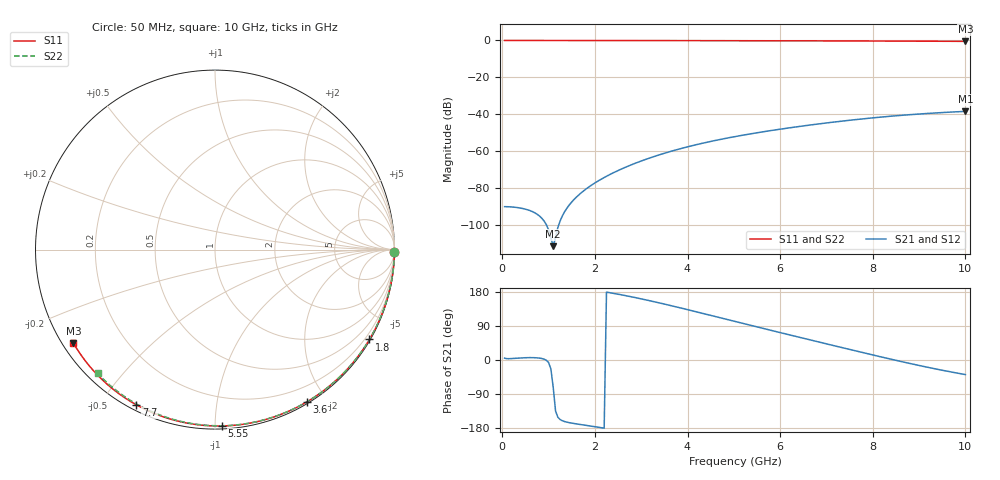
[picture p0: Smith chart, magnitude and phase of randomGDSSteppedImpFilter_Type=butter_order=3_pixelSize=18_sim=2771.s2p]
! freq	dB(S11)	phase(S11)	dB(S12)	phase(S12)
!  dB(S21)	phase(S21)	dB(S22)	phase(S22)
!S-par simulation data
#  GHz  S  DB  R 50
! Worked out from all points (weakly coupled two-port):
!   200 points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, 50 MHz to 10 GHz, reference 50 ohm
!   highest |S21| = -38.42 dB at 10 GHz (marker M1); lowest = -111.5 dB at 1.1 GHz (marker M2)
!   lowest |S11| = -0.5 dB at 10 GHz (marker M3), VSWR 35.57, Z = 1.53 - j15 ohm
!   |S11| at or under -10 dB: nowhere
!   |S22| runs from -0.4 to 0.0 dB; largest |S21 - S12| = 0
!   S11 on the Smith chart (normalised r, x): 50 MHz: open; 1.8 GHz: 0.03, -3.71; 3.6 GHz: 0.02, -1.77; 5.55 GHz: 0.02, -1.04; 7.7 GHz: 0.02, -0.61; 10 GHz: 0.03, -0.30
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0.05  -0.00 -0.9  -90.07 5.0  -90.07 5.0  -0.00 -0.8
0.55  -0.01 -9.4  -91.79 6.2  -91.79 6.2  -0.01 -8.5
1.1  -0.02 -18.6  -111.48 -72.6  -111.48 -72.6  -0.02 -16.8
1.75  -0.04 -29.4  -81.62 -171.3  -81.62 -171.3  -0.03 -26.6
1.8  -0.04 -30.2  -80.65 -172.2  -80.65 -172.2  -0.03 -27.4
1.85  -0.04 -31.0  -79.73 -173.1  -79.73 -173.1  -0.04 -28.1
2  -0.04 -33.5  -77.21 -175.9  -77.21 -175.9  -0.04 -30.3
2.15  -0.05 -35.9  -74.97 -178.8  -74.97 -178.8  -0.04 -32.5
2.35  -0.05 -39.2  -72.31 177.0  -72.31 177.0  -0.05 -35.5
2.55  -0.05 -42.4  -69.92 172.5  -69.92 172.5  -0.05 -38.4
2.95  -0.06 -48.7  -65.79 162.6  -65.79 162.6  -0.06 -44.2
3.4  -0.07 -55.8  -61.90 150.4  -61.90 150.4  -0.07 -50.6
3.6  -0.08 -58.9  -60.38 144.7  -60.38 144.7  -0.07 -53.5
4.3  -0.10 -69.5  -55.83 123.9  -55.83 123.9  -0.09 -63.2
5.05  -0.12 -80.5  -51.98 101.0  -51.98 101.0  -0.11 -73.3
5.55  -0.14 -87.7  -49.82 85.8  -49.82 85.8  -0.13 -79.8
6.1  -0.17 -95.3  -47.71 69.3  -47.71 69.3  -0.15 -86.9
6.7  -0.20 -103.5  -45.65 51.5  -45.65 51.5  -0.18 -94.4
7.7  -0.27 -116.9  -42.71 22.0  -42.71 22.0  -0.24 -106.6
8.35  -0.32 -125.3  -41.14 3.3  -41.14 3.3  -0.29 -114.3
9.2  -0.40 -136.3  -39.53 -19.7  -39.53 -19.7  -0.36 -124.3
10  -0.49 -146.5  -38.42 -38.5  -38.42 -38.5  -0.44 -133.5
